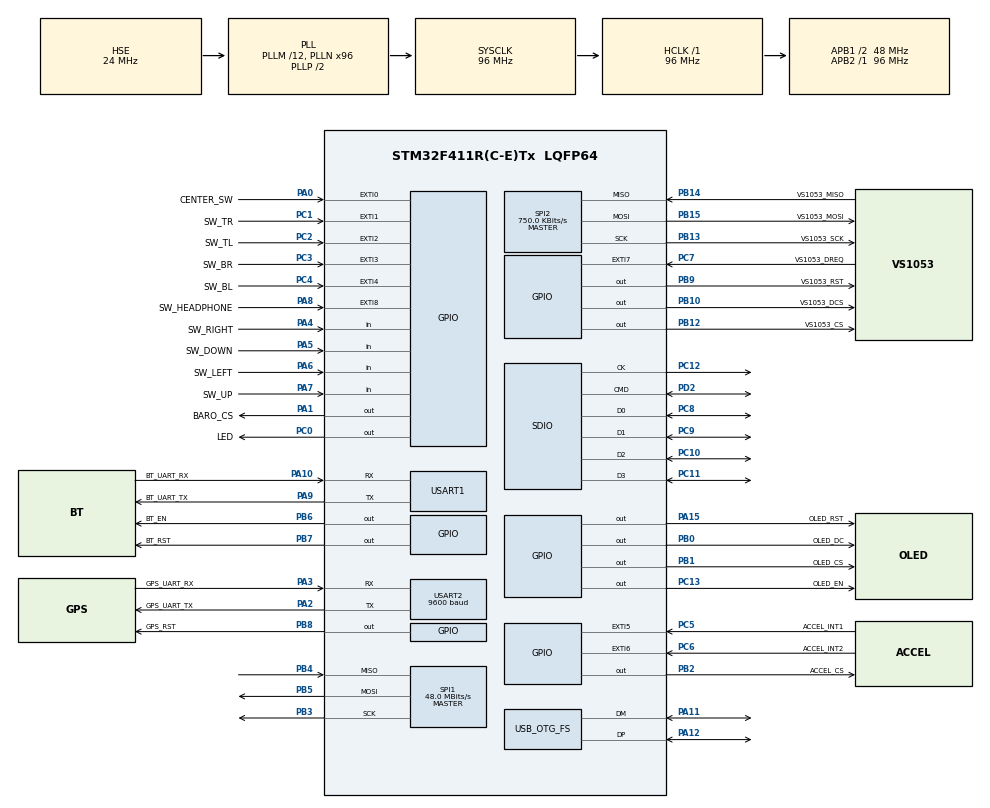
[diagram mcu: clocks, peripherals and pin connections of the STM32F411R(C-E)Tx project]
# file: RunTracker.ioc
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Dma.Request0=SPI2_TX
Dma.Request1=SPI1_TX
Dma.Request2=SDIO_RX
Dma.Request3=SDIO_TX
Dma.Request4=SPI1_RX
Dma.Request5=USART2_RX
Dma.SDIO_RX.2.Direction=DMA_PERIPH_TO_MEMORY
Dma.SDIO_RX.2.FIFOMode=DMA_FIFOMODE_ENABLE
Dma.SDIO_RX.2.FIFOThreshold=DMA_FIFO_THRESHOLD_FULL
Dma.SDIO_RX.2.Instance=DMA2_Stream3
Dma.SDIO_RX.2.MemBurst=DMA_MBURST_INC4
Dma.SDIO_RX.2.MemDataAlignment=DMA_MDATAALIGN_WORD
Dma.SDIO_RX.2.MemInc=DMA_MINC_ENABLE
Dma.SDIO_RX.2.Mode=DMA_PFCTRL
Dma.SDIO_RX.2.PeriphBurst=DMA_PBURST_INC4
Dma.SDIO_RX.2.PeriphDataAlignment=DMA_PDATAALIGN_WORD
Dma.SDIO_RX.2.PeriphInc=DMA_PINC_DISABLE
Dma.SDIO_RX.2.Priority=DMA_PRIORITY_LOW
Dma.SDIO_TX.3.Direction=DMA_MEMORY_TO_PERIPH
Dma.SDIO_TX.3.FIFOMode=DMA_FIFOMODE_ENABLE
Dma.SDIO_TX.3.FIFOThreshold=DMA_FIFO_THRESHOLD_FULL
Dma.SDIO_TX.3.Instance=DMA2_Stream6
Dma.SDIO_TX.3.MemBurst=DMA_MBURST_INC4
Dma.SDIO_TX.3.MemDataAlignment=DMA_MDATAALIGN_WORD
Dma.SDIO_TX.3.MemInc=DMA_MINC_ENABLE
Dma.SDIO_TX.3.Mode=DMA_PFCTRL
Dma.SDIO_TX.3.PeriphBurst=DMA_PBURST_INC4
Dma.SDIO_TX.3.PeriphDataAlignment=DMA_PDATAALIGN_WORD
Dma.SDIO_TX.3.PeriphInc=DMA_PINC_DISABLE
Dma.SDIO_TX.3.Priority=DMA_PRIORITY_LOW
Dma.SPI1_RX.4.Direction=DMA_PERIPH_TO_MEMORY
Dma.SPI1_RX.4.FIFOMode=DMA_FIFOMODE_DISABLE
Dma.SPI1_RX.4.Instance=DMA2_Stream0
Dma.SPI1_RX.4.MemDataAlignment=DMA_MDATAALIGN_BYTE
Dma.SPI1_RX.4.MemInc=DMA_MINC_ENABLE
Dma.SPI1_RX.4.Mode=DMA_NORMAL
Dma.SPI1_RX.4.PeriphDataAlignment=DMA_PDATAALIGN_BYTE
Dma.SPI1_RX.4.PeriphInc=DMA_PINC_DISABLE
Dma.SPI1_RX.4.Priority=DMA_PRIORITY_LOW
Dma.SPI1_TX.1.Direction=DMA_MEMORY_TO_PERIPH
Dma.SPI1_TX.1.FIFOMode=DMA_FIFOMODE_DISABLE
Dma.SPI1_TX.1.Instance=DMA2_Stream2
Dma.SPI1_TX.1.MemDataAlignment=DMA_MDATAALIGN_BYTE
Dma.SPI1_TX.1.MemInc=DMA_MINC_ENABLE
Dma.SPI1_TX.1.Mode=DMA_NORMAL
Dma.SPI1_TX.1.PeriphDataAlignment=DMA_PDATAALIGN_BYTE
Dma.SPI1_TX.1.PeriphInc=DMA_PINC_DISABLE
Dma.SPI1_TX.1.Priority=DMA_PRIORITY_LOW
Dma.SPI2_TX.0.Direction=DMA_MEMORY_TO_PERIPH
Dma.SPI2_TX.0.FIFOMode=DMA_FIFOMODE_ENABLE
Dma.SPI2_TX.0.FIFOThreshold=DMA_FIFO_THRESHOLD_FULL
Dma.SPI2_TX.0.Instance=DMA1_Stream4
Dma.SPI2_TX.0.MemBurst=DMA_MBURST_SINGLE
Dma.SPI2_TX.0.MemDataAlignment=DMA_MDATAALIGN_BYTE
Dma.SPI2_TX.0.MemInc=DMA_MINC_ENABLE
Dma.SPI2_TX.0.Mode=DMA_NORMAL
Dma.SPI2_TX.0.PeriphBurst=DMA_PBURST_SINGLE
Dma.SPI2_TX.0.PeriphDataAlignment=DMA_PDATAALIGN_BYTE
Dma.SPI2_TX.0.PeriphInc=DMA_PINC_DISABLE
Dma.SPI2_TX.0.Priority=DMA_PRIORITY_LOW
Dma.USART2_RX.5.Direction=DMA_PERIPH_TO_MEMORY
Dma.USART2_RX.5.FIFOMode=DMA_FIFOMODE_DISABLE
Dma.USART2_RX.5.Instance=DMA1_Stream5
Dma.USART2_RX.5.MemDataAlignment=DMA_MDATAALIGN_BYTE
Dma.USART2_RX.5.MemInc=DMA_MINC_ENABLE
Dma.USART2_RX.5.Mode=DMA_CIRCULAR
Dma.USART2_RX.5.PeriphDataAlignment=DMA_PDATAALIGN_BYTE
Dma.USART2_RX.5.PeriphInc=DMA_PINC_DISABLE
Dma.USART2_RX.5.Priority=DMA_PRIORITY_LOW
FATFS._FS_LOCK=5
FATFS._MAX_LFN=255
FATFS._USE_LFN=3
FREERTOS.Tasks01=defaultTask,0,128,StartDefaultTask,Default
Mcu.Family=STM32F4
Mcu.Name=STM32F411R(C-E)Tx
Mcu.Package=LQFP64
NVIC.DMA1_Stream4_IRQn=true\:5\:0\:false\:false\:true\:true
NVIC.DMA1_Stream5_IRQn=true\:5\:0\:false\:false\:true\:true
NVIC.DMA2_Stream0_IRQn=true\:5\:0\:false\:false\:true\:true
NVIC.DMA2_Stream2_IRQn=true\:5\:0\:false\:false\:true\:true
NVIC.DMA2_Stream3_IRQn=true\:5\:0\:false\:false\:true\:true
NVIC.DMA2_Stream6_IRQn=true\:5\:0\:false\:false\:true\:true
NVIC.EXTI0_IRQn=true\:5\:0\:false\:false\:true\:true
NVIC.EXTI1_IRQn=true\:5\:0\:false\:false\:true\:true
NVIC.EXTI2_IRQn=true\:5\:0\:false\:false\:true\:true
NVIC.EXTI3_IRQn=true\:5\:0\:false\:false\:true\:true
NVIC.EXTI4_IRQn=true\:5\:0\:false\:false\:true\:true
NVIC.EXTI9_5_IRQn=true\:5\:0\:false\:false\:true\:true
NVIC.OTG_FS_IRQn=true\:5\:0\:false\:false\:true\:true
NVIC.PriorityGroup=NVIC_PRIORITYGROUP_4
NVIC.SDIO_IRQn=true\:5\:0\:false\:false\:true\:true
NVIC.SPI1_IRQn=true\:5\:0\:false\:false\:true\:true
NVIC.SPI2_IRQn=true\:5\:0\:false\:false\:true\:true
NVIC.TIM2_IRQn=true\:5\:0\:false\:false\:true\:true
NVIC.TIM5_IRQn=true\:0\:0\:false\:false\:true\:false
NVIC.TimeBase=TIM5_IRQn
NVIC.TimeBaseIP=TIM5
NVIC.USART1_IRQn=true\:5\:0\:false\:false\:true\:true
NVIC.USART2_IRQn=true\:5\:0\:false\:false\:true\:true
PA0-WKUP.GPIO_Label=CENTER_SW
PA0-WKUP.GPIO_ModeDefaultEXTI=GPIO_MODE_IT_RISING_FALLING
PA0-WKUP.Signal=GPXTI0
PA1.GPIO_Label=BARO_CS
PA1.PinState=GPIO_PIN_SET
PA1.Signal=GPIO_Output
PA10.GPIO_Label=BT_UART_RX
PA10.Mode=Asynchronous
PA10.Signal=USART1_RX
PA11.Mode=Device_Only
PA11.Signal=USB_OTG_FS_DM
PA12.Mode=Device_Only
PA12.Signal=USB_OTG_FS_DP
PA13.Mode=Serial_Wire
PA13.Signal=SYS_JTMS-SWDIO
PA14.Mode=Serial_Wire
PA14.Signal=SYS_JTCK-SWCLK
PA15.GPIO_Label=OLED_RST
PA15.PinState=GPIO_PIN_SET
PA15.Signal=GPIO_Output
PA2.GPIO_Label=GPS_UART_TX
PA2.Mode=Asynchronous
PA2.Signal=USART2_TX
PA3.GPIO_Label=GPS_UART_RX
PA3.Mode=Asynchronous
PA3.Signal=USART2_RX
PA4.GPIO_Label=SW_RIGHT
PA4.Signal=GPIO_Input
PA5.GPIO_Label=SW_DOWN
PA5.Signal=GPIO_Input
PA6.GPIO_Label=SW_LEFT
PA6.Signal=GPIO_Input
PA7.GPIO_Label=SW_UP
PA7.Signal=GPIO_Input
PA8.GPIO_Label=SW_HEADPHONE
PA8.GPIO_ModeDefaultEXTI=GPIO_MODE_IT_RISING_FALLING
PA8.Signal=GPXTI8
PA9.GPIO_Label=BT_UART_TX
PA9.Mode=Asynchronous
PA9.Signal=USART1_TX
PB0.GPIO_Label=OLED_DC
PB0.Signal=GPIO_Output
PB1.GPIO_Label=OLED_CS
PB1.PinState=GPIO_PIN_SET
PB1.Signal=GPIO_Output
PB10.GPIO_Label=VS1053_DCS
PB10.Signal=GPIO_Output
PB12.GPIO_Label=VS1053_CS
PB12.PinState=GPIO_PIN_SET
PB12.Signal=GPIO_Output
PB13.GPIO_Label=VS1053_SCK
PB13.Mode=Full_Duplex_Master
PB13.Signal=SPI2_SCK
PB14.GPIO_Label=VS1053_MISO
PB14.Mode=Full_Duplex_Master
PB14.Signal=SPI2_MISO
PB15.GPIO_Label=VS1053_MOSI
PB15.Mode=Full_Duplex_Master
PB15.Signal=SPI2_MOSI
PB2.GPIO_Label=ACCEL_CS
PB2.PinState=GPIO_PIN_SET
PB2.Signal=GPIO_Output
PB3.Mode=Full_Duplex_Master
PB3.Signal=SPI1_SCK
PB4.Mode=Full_Duplex_Master
PB4.Signal=SPI1_MISO
PB5.Mode=Full_Duplex_Master
PB5.Signal=SPI1_MOSI
PB6.GPIO_Label=BT_EN
PB6.Signal=GPIO_Output
PB7.GPIO_Label=BT_RST
PB7.PinState=GPIO_PIN_SET
PB7.Signal=GPIO_Output
PB8.GPIO_Label=GPS_RST
PB8.PinState=GPIO_PIN_SET
PB8.Signal=GPIO_Output
PB9.GPIO_Label=VS1053_RST
PB9.PinState=GPIO_PIN_SET
PB9.Signal=GPIO_Output
PC0.GPIO_Label=LED
PC0.PinState=GPIO_PIN_SET
PC0.Signal=GPIO_Output
PC1.GPIO_Label=SW_TR
PC1.GPIO_ModeDefaultEXTI=GPIO_MODE_IT_FALLING
PC1.Signal=GPXTI1
PC10.Mode=SD_4_bits_Wide_bus
PC10.Signal=SDIO_D2
PC11.Mode=SD_4_bits_Wide_bus
PC11.Signal=SDIO_D3
PC12.Mode=SD_4_bits_Wide_bus
PC12.Signal=SDIO_CK
PC13-ANTI_TAMP.GPIO_Label=OLED_EN
PC13-ANTI_TAMP.Signal=GPIO_Output
PC14-OSC32_IN.Mode=LSE-External-Oscillator
PC14-OSC32_IN.Signal=RCC_OSC32_IN
PC15-OSC32_OUT.Mode=LSE-External-Oscillator
PC15-OSC32_OUT.Signal=RCC_OSC32_OUT
PC2.GPIO_Label=SW_TL
PC2.GPIO_ModeDefaultEXTI=GPIO_MODE_IT_FALLING
PC2.Signal=GPXTI2
PC3.GPIO_Label=SW_BR
PC3.GPIO_ModeDefaultEXTI=GPIO_MODE_IT_FALLING
PC3.Signal=GPXTI3
PC4.GPIO_Label=SW_BL
PC4.GPIO_ModeDefaultEXTI=GPIO_MODE_IT_FALLING
PC4.Signal=GPXTI4
PC5.GPIO_Label=ACCEL_INT1
PC5.GPIO_PuPd=GPIO_PULLDOWN
PC5.Signal=GPXTI5
PC6.GPIO_Label=ACCEL_INT2
PC6.GPIO_PuPd=GPIO_PULLDOWN
PC6.Signal=GPXTI6
PC7.GPIO_Label=VS1053_DREQ
PC7.GPIO_PuPd=GPIO_PULLDOWN
PC7.Signal=GPXTI7
PC8.Mode=SD_4_bits_Wide_bus
PC8.Signal=SDIO_D0
PC9.Mode=SD_4_bits_Wide_bus
PC9.Signal=SDIO_D1
PD2.Mode=SD_4_bits_Wide_bus
PD2.Signal=SDIO_CMD
PH0\ -\ OSC_IN.Mode=HSE-External-Oscillator
PH0\ -\ OSC_IN.Signal=RCC_OSC_IN
PH1\ -\ OSC_OUT.Mode=HSE-External-Oscillator
PH1\ -\ OSC_OUT.Signal=RCC_OSC_OUT
ProjectManager.HeapSize=0x200
ProjectManager.StackSize=0x400
ProjectManager.TargetToolchain=SW4STM32
RCC.48MHZClocksFreq_Value=48000000
RCC.AHBFreq_Value=96000000
RCC.APB1CLKDivider=RCC_HCLK_DIV2
RCC.APB1Freq_Value=48000000
RCC.APB1TimFreq_Value=96000000
RCC.APB2Freq_Value=96000000
RCC.APB2TimFreq_Value=96000000
RCC.CortexFreq_Value=96000000
RCC.HCLKFreq_Value=96000000
RCC.HSE_VALUE=24000000
RCC.HSI_VALUE=16000000
RCC.PLLM=12
RCC.PLLN=96
RCC.RCC_RTC_Clock_Source=RCC_RTCCLKSOURCE_LSE
RCC.RCC_RTC_Clock_SourceVirtual=RCC_RTCCLKSOURCE_LSE
RCC.SYSCLKFreq_VALUE=96000000
RCC.SYSCLKSource=RCC_SYSCLKSOURCE_PLLCLK
RCC.VCOOutputFreq_Value=192000000
SDIO.BusWide=SDIO_BUS_WIDE_1B
SDIO.WideMode=SDIO_BUS_WIDE_4B
SPI1.CalculateBaudRate=48.0 MBits/s
SPI1.Mode=SPI_MODE_MASTER
SPI2.BaudRatePrescaler=SPI_BAUDRATEPRESCALER_64
SPI2.CalculateBaudRate=750.0 KBits/s
SPI2.Mode=SPI_MODE_MASTER
USART2.BaudRate=9600
USB_DEVICE.USBD_HandleTypeDef=hUsbDeviceFS
USB_DEVICE.VirtualMode=Msc
USB_DEVICE.VirtualModeFS=Msc_FS
USB_OTG_FS.VirtualMode=Device_Only
VP_FATFS_VS_SDIO.Mode=SDIO
VP_FREERTOS_VS_ENABLE.Mode=Enabled
VP_RTC_VS_RTC_WakeUp_intern.Mode=WakeUp
VP_SYS_VS_tim5.Mode=TIM5
VP_TIM2_VS_no_output1.Mode=Output Compare1 No Output
VP_USB_DEVICE_VS_USB_DEVICE_MSC_FS.Mode=MSC_FS
board=RunTracker

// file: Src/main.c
/**
  ******************************************************************************
  * File Name          : main.c
  * Description        : Main program body
  ******************************************************************************
  *
  * COPYRIGHT(c) 2016 STMicroelectronics
  *
  * Redistribution and use in source and binary forms, with or without modification,
  * are permitted provided that the following conditions are met:
  *   1. Redistributions of source code must retain the above copyright notice,
  *      this list of conditions and the following disclaimer.
  *   2. Redistributions in binary form must reproduce the above copyright notice,
  *      this list of conditions and the following disclaimer in the documentation
  *      and/or other materials provided with the distribution.
  *   3. Neither the name of STMicroelectronics nor the names of its contributors
  *      may be used to endorse or promote products derived from this software
  *      without specific prior written permission.
  *
  * THIS SOFTWARE IS PROVIDED BY THE COPYRIGHT HOLDERS AND CONTRIBUTORS "AS IS"
  * AND ANY EXPRESS OR IMPLIED WARRANTIES, INCLUDING, BUT NOT LIMITED TO, THE
  * IMPLIED WARRANTIES OF MERCHANTABILITY AND FITNESS FOR A PARTICULAR PURPOSE ARE
  * DISCLAIMED. IN NO EVENT SHALL THE COPYRIGHT HOLDER OR CONTRIBUTORS BE LIABLE
  * FOR ANY DIRECT, INDIRECT, INCIDENTAL, SPECIAL, EXEMPLARY, OR CONSEQUENTIAL
  * DAMAGES (INCLUDING, BUT NOT LIMITED TO, PROCUREMENT OF SUBSTITUTE GOODS OR
  * SERVICES; LOSS OF USE, DATA, OR PROFITS; OR BUSINESS INTERRUPTION) HOWEVER
  * CAUSED AND ON ANY THEORY OF LIABILITY, WHETHER IN CONTRACT, STRICT LIABILITY,
  * OR TORT (INCLUDING NEGLIGENCE OR OTHERWISE) ARISING IN ANY WAY OUT OF THE USE
  * OF THIS SOFTWARE, EVEN IF ADVISED OF THE POSSIBILITY OF SUCH DAMAGE.
  *
  ******************************************************************************
  */
#include "stm32f4xx_hal.h"
#include "cmsis_os.h"
#include "dma.h"
#include "fatfs.h"
#include "rtc.h"
#include "sdio.h"
#include "spi.h"
#include "tim.h"
#include "usart.h"
#include "usb_device.h"
#include "gpio.h"

/* USER CODE BEGIN Includes */
#include "RunTrackerGPS.h"
#include "GPXWriter.h"
#include "SharedSpi.h"
#include "VS1053.h"

/* USER CODE END Includes */

/* USER CODE BEGIN PV */
/* Private variables ---------------------------------------------------------*/
static RunTracker_GPS GPS;
static VS1053 Codec;
static GPXWriter GPX;
static SharedSpi sharedSpi1;
static SharedSpi sharedSpi2;
static int8_t baro;
static int8_t accel;
static int8_t oled;
static int8_t vs1053_data;
static int8_t vs1053_cmd;

/* USER CODE END PV */

void SystemClock_Config(void);
void Error_Handler(void);
void MX_FREERTOS_Init(void);

/* USER CODE BEGIN PFP */
/* Private function prototypes -----------------------------------------------*/

/* USER CODE END PFP */

int main(void)
{

  /* MCU Configuration----------------------------------------------------------*/

  /* Reset of all peripherals, Initializes the Flash interface and the Systick. */
  HAL_Init();

  /* Configure the system clock */
  SystemClock_Config();

  /* Initialize all configured peripherals */
  MX_GPIO_Init();
  MX_DMA_Init();
  MX_SDIO_SD_Init();
  MX_SPI1_Init();
  MX_SPI2_Init();
  MX_USART1_UART_Init();
  MX_USART2_UART_Init();
  MX_TIM2_Init();
  MX_RTC_Init();
  MX_FATFS_Init();

  /* USER CODE BEGIN 2 */
  RunTracker_GPS_Init(&GPS, &huart2);
  SharedSpi_Init(&sharedSpi1, &hspi1);
  SharedSpi_Init(&sharedSpi2, &hspi2);

  baro  = SharedSpi_Register_CS(&sharedSpi1, BARO_CS_GPIO_Port, BARO_CS_Pin);
  accel = SharedSpi_Register_CS(&sharedSpi1, ACCEL_CS_GPIO_Port, ACCEL_CS_Pin);
  oled  = SharedSpi_Register_CS(&sharedSpi1, OLED_CS_GPIO_Port, OLED_CS_Pin);

  vs1053_data = SharedSpi_Register_CS(&sharedSpi2, VS1053_DCS_GPIO_Port, VS1053_DCS_Pin);
  vs1053_cmd  = SharedSpi_Register_CS(&sharedSpi2, VS1053_CS_GPIO_Port, VS1053_CS_Pin);

  VS1053_Init(&Codec, &sharedSpi2, vs1053_data, vs1053_cmd);
  //VS1053_SineTest(&Codec, 0x44, 1000);
  VS1053_StartPlayingFile(&Codec, "Oasis.mp3");

  /* USER CODE END 2 */

  /* Call init function for freertos objects (in freertos.c) */
  MX_FREERTOS_Init();

  /* Start scheduler */
  osKernelStart();

  /* We should never get here as control is now taken by the scheduler */

  /* Infinite loop */
  while (1)
  {

  }

}

/** System Clock Configuration
*/
void SystemClock_Config(void)
{

  RCC_OscInitTypeDef RCC_OscInitStruct;
  RCC_ClkInitTypeDef RCC_ClkInitStruct;
  RCC_PeriphCLKInitTypeDef PeriphClkInitStruct;

  __HAL_RCC_PWR_CLK_ENABLE();

  __HAL_PWR_VOLTAGESCALING_CONFIG(PWR_REGULATOR_VOLTAGE_SCALE1);

  RCC_OscInitStruct.OscillatorType = RCC_OSCILLATORTYPE_HSE|RCC_OSCILLATORTYPE_LSE;
  RCC_OscInitStruct.HSEState = RCC_HSE_ON;
  RCC_OscInitStruct.LSEState = RCC_LSE_ON;
  RCC_OscInitStruct.PLL.PLLState = RCC_PLL_ON;
  RCC_OscInitStruct.PLL.PLLSource = RCC_PLLSOURCE_HSE;
  RCC_OscInitStruct.PLL.PLLM = 12;
  RCC_OscInitStruct.PLL.PLLN = 96;
  RCC_OscInitStruct.PLL.PLLP = RCC_PLLP_DIV2;
  RCC_OscInitStruct.PLL.PLLQ = 4;
  if (HAL_RCC_OscConfig(&RCC_OscInitStruct) != HAL_OK)
  {
    Error_Handler();
  }

  RCC_ClkInitStruct.ClockType = RCC_CLOCKTYPE_HCLK|RCC_CLOCKTYPE_SYSCLK
                              |RCC_CLOCKTYPE_PCLK1|RCC_CLOCKTYPE_PCLK2;
  RCC_ClkInitStruct.SYSCLKSource = RCC_SYSCLKSOURCE_PLLCLK;
  RCC_ClkInitStruct.AHBCLKDivider = RCC_SYSCLK_DIV1;
  RCC_ClkInitStruct.APB1CLKDivider = RCC_HCLK_DIV2;
  RCC_ClkInitStruct.APB2CLKDivider = RCC_HCLK_DIV1;
  if (HAL_RCC_ClockConfig(&RCC_ClkInitStruct, FLASH_LATENCY_3) != HAL_OK)
  {
    Error_Handler();
  }

  PeriphClkInitStruct.PeriphClockSelection = RCC_PERIPHCLK_RTC;
  PeriphClkInitStruct.RTCClockSelection = RCC_RTCCLKSOURCE_LSE;
  if (HAL_RCCEx_PeriphCLKConfig(&PeriphClkInitStruct) != HAL_OK)
  {
    Error_Handler();
  }

  HAL_SYSTICK_Config(HAL_RCC_GetHCLKFreq()/1000);

  HAL_SYSTICK_CLKSourceConfig(SYSTICK_CLKSOURCE_HCLK);

  /* SysTick_IRQn interrupt configuration */
  HAL_NVIC_SetPriority(SysTick_IRQn, 15, 0);
}

/* USER CODE BEGIN 4 */
void HAL_UART_RxCpltCallback(UART_HandleTypeDef *huart)
{
  if(huart == &huart2)
  {
    RunTracker_GPS_RXCallback(&GPS, false);
  }
}

void HAL_UART_RxHalfCpltCallback(UART_HandleTypeDef *huart)
{
  if(huart == &huart2)
  {
    RunTracker_GPS_RXCallback(&GPS, true);
  }
}

void HAL_SPI_TxCpltCallback(SPI_HandleTypeDef *hspi)
{
  if(hspi == &hspi2)
  {
	  SharedSpi_TxCallback(&sharedSpi2, false);
  }
}

// External interrupt (buttons) callback function.
// TODO These need to map based on system state.  This function should probaly be moved to a Mission Manager thread
void HAL_GPIO_EXTI_Callback(uint16_t GPIO_Pin)
{
  switch(GPIO_Pin)
  {
  case CENTER_SW_Pin:
    break;

  case SW_TR_Pin:
    break;

  case SW_TL_Pin:
    break;

  case SW_BR_Pin:
    break;

  case SW_BL_Pin:
    break;

  case ACCEL_INT1_Pin:
    break;

  case ACCEL_INT2_Pin:
    break;

  case VS1053_DREQ_Pin:
    VS1053_DREQ_Callback(&Codec);
    break;

  case SW_HEADPHONE_Pin:
    break;

  default:
    break;
  }
}

/* USER CODE END 4 */

void HAL_TIM_PeriodElapsedCallback(TIM_HandleTypeDef *htim)
{
  if (htim->Instance == TIM5) {
    HAL_IncTick();
  }
}

void Error_Handler(void)
{
  while(1)
  {
  }
}

/************************ (C) COPYRIGHT STMicroelectronics *****END OF FILE****/

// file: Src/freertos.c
/**
  ******************************************************************************
  * File Name          : freertos.c
  * Description        : Code for freertos applications
  ******************************************************************************
  *
  * COPYRIGHT(c) 2016 STMicroelectronics
  *
  * Redistribution and use in source and binary forms, with or without modification,
  * are permitted provided that the following conditions are met:
  *   1. Redistributions of source code must retain the above copyright notice,
  *      this list of conditions and the following disclaimer.
  *   2. Redistributions in binary form must reproduce the above copyright notice,
  *      this list of conditions and the following disclaimer in the documentation
  *      and/or other materials provided with the distribution.
  *   3. Neither the name of STMicroelectronics nor the names of its contributors
  *      may be used to endorse or promote products derived from this software
  *      without specific prior written permission.
  *
  * THIS SOFTWARE IS PROVIDED BY THE COPYRIGHT HOLDERS AND CONTRIBUTORS "AS IS"
  * AND ANY EXPRESS OR IMPLIED WARRANTIES, INCLUDING, BUT NOT LIMITED TO, THE
  * IMPLIED WARRANTIES OF MERCHANTABILITY AND FITNESS FOR A PARTICULAR PURPOSE ARE
  * DISCLAIMED. IN NO EVENT SHALL THE COPYRIGHT HOLDER OR CONTRIBUTORS BE LIABLE
  * FOR ANY DIRECT, INDIRECT, INCIDENTAL, SPECIAL, EXEMPLARY, OR CONSEQUENTIAL
  * DAMAGES (INCLUDING, BUT NOT LIMITED TO, PROCUREMENT OF SUBSTITUTE GOODS OR
  * SERVICES; LOSS OF USE, DATA, OR PROFITS; OR BUSINESS INTERRUPTION) HOWEVER
  * CAUSED AND ON ANY THEORY OF LIABILITY, WHETHER IN CONTRACT, STRICT LIABILITY,
  * OR TORT (INCLUDING NEGLIGENCE OR OTHERWISE) ARISING IN ANY WAY OUT OF THE USE
  * OF THIS SOFTWARE, EVEN IF ADVISED OF THE POSSIBILITY OF SUCH DAMAGE.
  *
  ******************************************************************************
  */

#include "FreeRTOS.h"
#include "task.h"
#include "cmsis_os.h"

osThreadId defaultTaskHandle;

void StartDefaultTask(void const * argument);

extern void MX_FATFS_Init(void);
extern void MX_USB_DEVICE_Init(void);
void MX_FREERTOS_Init(void); /* (MISRA C 2004 rule 8.1) */

/* Hook prototypes */

/* Init FreeRTOS */

void MX_FREERTOS_Init(void) {

  /* Create the thread(s) */
  /* definition and creation of defaultTask */
  osThreadDef(defaultTask, StartDefaultTask, osPriorityNormal, 0, 128);
  defaultTaskHandle = osThreadCreate(osThread(defaultTask), NULL);

}

/* StartDefaultTask function */
void StartDefaultTask(void const * argument)
{
  /* init code for FATFS */
  //MX_FATFS_Init();

  /* init code for USB_DEVICE */
  //MX_USB_DEVICE_Init();

  for(;;)
  {
    osDelay(1);
  }
}

/************************ (C) COPYRIGHT STMicroelectronics *****END OF FILE****/
